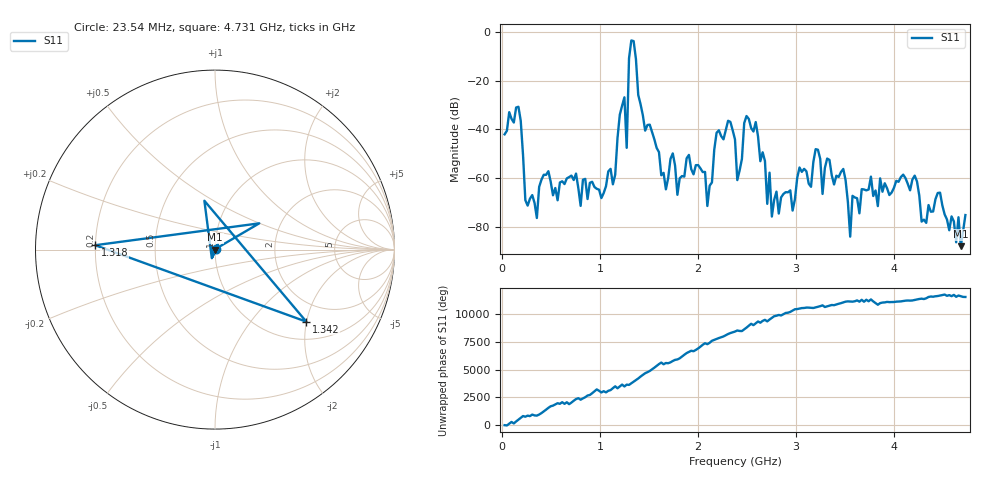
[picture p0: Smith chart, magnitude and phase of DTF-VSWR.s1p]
!Keysight Technologies N9952A: A.10.01
!Date: Friday, 04 October 2019 12:12:07
!TimeZone: !Model: N9952A
!Serial: MY57201149
!GPS Latitude:
!GPS Longitude:
!GPS TimeStamp: 0001-01-01 00:00:00Z
!GPS Seconds Since Last Read: 0
!CHECKSUM:1572768750
!Correction: S11(Rdy)
!S1P File: Measurement: S11:
# Hz S DB R 50
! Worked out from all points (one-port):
!   201 points, 23.54 MHz to 4.731 GHz, reference 50 ohm
!   lowest |S11| = -87.8 dB at 4.684 GHz (marker M1), VSWR 1.00, Z = 50 + j0.00405 ohm
!   |S11| at or under -10 dB: start of sweep to 1.297 GHz; 1.362 GHz to end of sweep
!   S11 on the Smith chart (normalised r, x): 23.54 MHz: 1.02, +0.00; 1.318 GHz: 0.20, +0.02; 1.342 GHz: 1.44, -2.00; 4.731 GHz: 1.00, +0.00
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2.353839e7  -41.98 9.6
1.647687e8  -30.67 142.8
2.353839e8  -68.97 49.4
3.530759e8  -76.28 148.4
4.236911e8  -58.54 166.2
6.355366e8  -62.35 127.3
1.129843e9  -62.45 94.4
1.223996e9  -30.22 58.6
1.271073e9  -47.51 56.7
1.294612e9  -10.85 30.7
1.31815e9  -3.51 177.9
1.341688e9  -3.77 -38.3
1.45938e9  -40.46 1.1
1.812456e9  -59.98 -97.5
2.094917e9  -71.35 93.1
2.18907e9  -41.35 -156.4
2.306762e9  -36.44 -71.7
2.400916e9  -60.74 -113.7
2.49507e9  -34.48 142.8
2.753992e9  -75.68 -64.0
2.989376e9  -68.64 -6.2
3.201221e9  -48.04 160.9
3.271837e9  -66.41 -15.1
3.318913e9  -51.90 -103.0
3.577836e9  -67.19 -42.7
4.142757e9  -62.31 59.8
4.68414e9  -87.82 84.7
4.731217e9  -75.07 18.9
